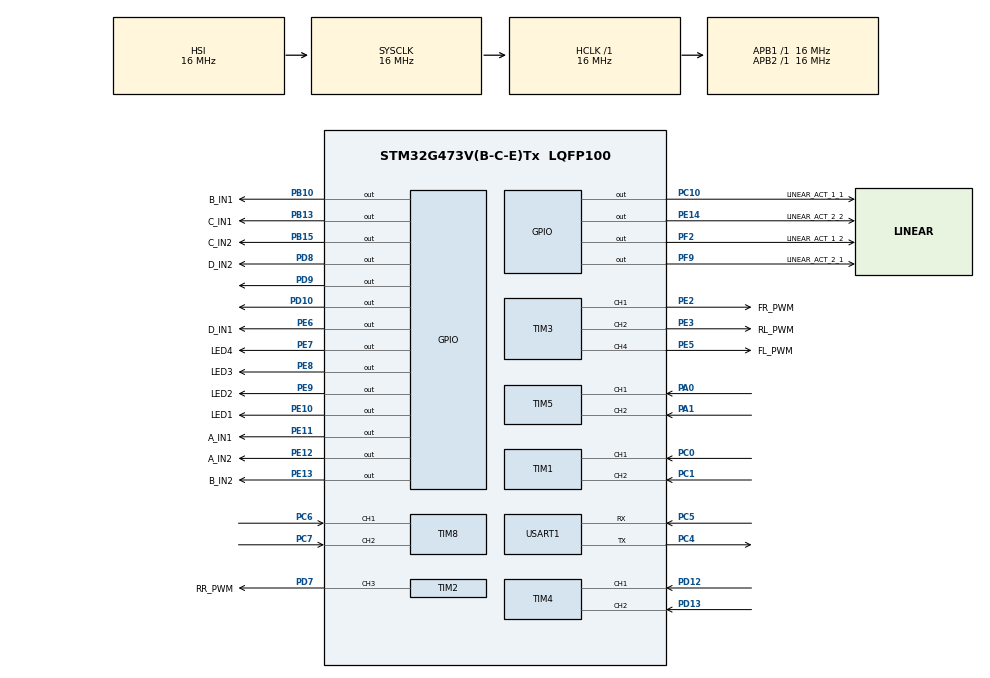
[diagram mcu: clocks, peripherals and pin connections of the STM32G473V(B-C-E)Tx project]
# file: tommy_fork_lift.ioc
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Mcu.Family=STM32G4
Mcu.Name=STM32G473V(B-C-E)Tx
Mcu.Package=LQFP100
NVIC.PriorityGroup=NVIC_PRIORITYGROUP_4
PA0.Signal=S_TIM5_CH1
PA1.Signal=S_TIM5_CH2
PA13.Mode=Serial_Wire
PA13.Signal=SYS_JTMS-SWDIO
PA14.Mode=Serial_Wire
PA14.Signal=SYS_JTCK-SWCLK
PB10.GPIO_Label=B_IN1
PB10.Signal=GPIO_Output
PB13.GPIO_Label=C_IN1
PB13.Signal=GPIO_Output
PB15.GPIO_Label=C_IN2
PB15.Signal=GPIO_Output
PC0.Signal=S_TIM1_CH1
PC1.Signal=S_TIM1_CH2
PC10.GPIO_Label=LINEAR_ACT_1_1
PC10.Signal=GPIO_Output
PC14-OSC32_IN.Mode=LSE-External-Oscillator
PC14-OSC32_IN.Signal=RCC_OSC32_IN
PC15-OSC32_OUT.Mode=LSE-External-Oscillator
PC15-OSC32_OUT.Signal=RCC_OSC32_OUT
PC4.Mode=Asynchronous
PC4.Signal=USART1_TX
PC5.Mode=Asynchronous
PC5.Signal=USART1_RX
PC6.Signal=S_TIM8_CH1
PC7.Signal=S_TIM8_CH2
PD10.Signal=GPIO_Output
PD12.Signal=S_TIM4_CH1
PD13.Signal=S_TIM4_CH2
PD7.GPIO_Label=RR_PWM
PD7.Signal=S_TIM2_CH3
PD8.GPIO_Label=D_IN2
PD8.Signal=GPIO_Output
PD9.Signal=GPIO_Output
PE10.GPIO_Label=LED1
PE10.Signal=GPIO_Output
PE11.GPIO_Label=A_IN1
PE11.Signal=GPIO_Output
PE12.GPIO_Label=A_IN2
PE12.Signal=GPIO_Output
PE13.GPIO_Label=B_IN2
PE13.Signal=GPIO_Output
PE14.GPIO_Label=LINEAR_ACT_2_2
PE14.Signal=GPIO_Output
PE2.GPIO_Label=FR_PWM
PE2.Signal=S_TIM3_CH1
PE3.GPIO_Label=RL_PWM
PE3.Signal=S_TIM3_CH2
PE5.GPIO_Label=FL_PWM
PE5.Signal=S_TIM3_CH4
PE6.GPIO_Label=D_IN1
PE6.Signal=GPIO_Output
PE7.GPIO_Label=LED4
PE7.Signal=GPIO_Output
PE8.GPIO_Label=LED3
PE8.Signal=GPIO_Output
PE9.GPIO_Label=LED2
PE9.Signal=GPIO_Output
PF0-OSC_IN.Mode=HSE-External-Oscillator
PF0-OSC_IN.Signal=RCC_OSC_IN
PF1-OSC_OUT.Mode=HSE-External-Oscillator
PF1-OSC_OUT.Signal=RCC_OSC_OUT
PF2.GPIO_Label=LINEAR_ACT_1_2
PF2.Signal=GPIO_Output
PF9.GPIO_Label=LINEAR_ACT_2_1
PF9.Signal=GPIO_Output
ProjectManager.HeapSize=0x200
ProjectManager.StackSize=0x400
ProjectManager.TargetToolchain=STM32CubeIDE
RCC.AHBFreq_Value=16000000
RCC.APB1Freq_Value=16000000
RCC.APB1TimFreq_Value=16000000
RCC.APB2Freq_Value=16000000
RCC.APB2TimFreq_Value=16000000
RCC.CortexFreq_Value=16000000
RCC.EXTERNAL_CLOCK_VALUE=12288000
RCC.HCLKFreq_Value=16000000
RCC.HSE_VALUE=8000000
RCC.HSI48_VALUE=48000000
RCC.HSI_VALUE=16000000
RCC.SYSCLKFreq_VALUE=16000000
RCC.USBFreq_Value=64000000
RCC.VCOOutputFreq_Value=128000000
SH.S_TIM1_CH1.0=TIM1_CH1,Encoder_Interface
SH.S_TIM1_CH2.0=TIM1_CH2,Encoder_Interface
SH.S_TIM2_CH3.0=TIM2_CH3,PWM Generation3 CH3
SH.S_TIM3_CH1.0=TIM3_CH1,PWM Generation1 CH1
SH.S_TIM3_CH2.0=TIM3_CH2,PWM Generation2 CH2
SH.S_TIM3_CH4.0=TIM3_CH4,PWM Generation4 CH4
SH.S_TIM4_CH1.0=TIM4_CH1,Encoder_Interface
SH.S_TIM4_CH2.0=TIM4_CH2,Encoder_Interface
SH.S_TIM5_CH1.0=TIM5_CH1,Encoder_Interface
SH.S_TIM5_CH2.0=TIM5_CH2,Encoder_Interface
SH.S_TIM8_CH1.0=TIM8_CH1,Encoder_Interface
SH.S_TIM8_CH2.0=TIM8_CH2,Encoder_Interface
TIM2.AutoReloadPreload=TIM_AUTORELOAD_PRELOAD_ENABLE
TIM2.Channel-PWM\ Generation3\ CH3=TIM_CHANNEL_3
TIM2.PeriodNoDither=65535
TIM3.AutoReloadPreload=TIM_AUTORELOAD_PRELOAD_ENABLE
TIM3.Channel-PWM\ Generation1\ CH1=TIM_CHANNEL_1
TIM3.Channel-PWM\ Generation2\ CH2=TIM_CHANNEL_2
TIM3.Channel-PWM\ Generation4\ CH4=TIM_CHANNEL_4
USART1.VirtualMode-Asynchronous=VM_ASYNC
VP_SYS_VS_DBSignals.Mode=DisableDeadBatterySignals
board=custom

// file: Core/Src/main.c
/* USER CODE BEGIN Header */
/**
 ******************************************************************************
 * @file           : main.c
 * @brief          : Main program body
 ******************************************************************************
 * @attention
 *
 * Copyright (c) 2025 STMicroelectronics.
 * All rights reserved.
 *
 * This software is licensed under terms that can be found in the LICENSE file
 * in the root directory of this software component.
 * If no LICENSE file comes with this software, it is provided AS-IS.
 *
 ********************************************************************** ********
 */
/* USER CODE END Header */
#include "main.h"
#include "tim.h"
#include "usart.h"
#include "gpio.h"

/* USER CODE BEGIN Includes */
#include "auto_path.h"
#include "controller.h"
#include "encoder.h"
#include "mech.h"
#include "movement.h"
#include "robot.h"

/* USER CODE END Includes */

/* USER CODE BEGIN PD */
#define TEST 0

/* USER CODE END PD */

/* USER CODE BEGIN PV */
BaseVelocity test_base_vel = {0, 0, 0};
int time_stamp = 0;
int test_stage = 0;
int test_var = 0;
/* USER CODE END PV */

void SystemClock_Config(void);

int main(void)
{

  /* MCU Configuration--------------------------------------------------------*/

  /* Reset of all peripherals, Initializes the Flash interface and the Systick. */
  HAL_Init();

  /* Configure the system clock */
  SystemClock_Config();

  /* Initialize all configured peripherals */
  MX_GPIO_Init();
  MX_TIM3_Init();
  MX_TIM1_Init();
  MX_TIM2_Init();
  MX_TIM4_Init();
  MX_TIM5_Init();
  MX_TIM8_Init();
  MX_USART1_UART_Init();
  /* USER CODE BEGIN 2 */
  HAL_TIM_PWM_Start(&htim2, TIM_CHANNEL_3);
  HAL_TIM_PWM_Start(&htim3, TIM_CHANNEL_1);
  HAL_TIM_PWM_Start(&htim3, TIM_CHANNEL_2);
  HAL_TIM_PWM_Start(&htim3, TIM_CHANNEL_4);

  HAL_TIM_Base_Start_IT(&htim1);
  HAL_TIM_Encoder_Start_IT(&htim1, TIM_CHANNEL_ALL);
  HAL_TIM_Base_Start_IT(&htim4);
  HAL_TIM_Encoder_Start_IT(&htim4, TIM_CHANNEL_ALL);
  HAL_TIM_Base_Start_IT(&htim5);
  HAL_TIM_Encoder_Start_IT(&htim5, TIM_CHANNEL_ALL);
  HAL_TIM_Base_Start_IT(&htim8);
  HAL_TIM_Encoder_Start_IT(&htim8, TIM_CHANNEL_ALL);

  HAL_GPIO_WritePin(LED1_GPIO_Port, LED1_Pin, GPIO_PIN_SET);
  HAL_GPIO_WritePin(LED2_GPIO_Port, LED2_Pin, GPIO_PIN_SET);
  HAL_GPIO_WritePin(LED3_GPIO_Port, LED3_Pin, GPIO_PIN_SET);
  HAL_GPIO_WritePin(LED4_GPIO_Port, LED4_Pin, GPIO_PIN_SET);

  /* USER CODE END 2 */

  /* Infinite loop */
  while (1) {

    /* USER CODE BEGIN 3 */
    HAL_Delay(1);
#if (TEST == 0)
    HAL_UART_Receive(&huart1, controller_buffer, sizeof(controller_buffer), 0xFFFF);
    parse_controller_data(controller_buffer, &controller_state);

    if (controller_state.options_button && !prev_turn_on) {  // turn on/off the robot
      turn_on = !turn_on;
      HAL_GPIO_WritePin(LED1_GPIO_Port, LED1_Pin, turn_on ? GPIO_PIN_RESET : GPIO_PIN_SET);
    }
    prev_turn_on = controller_state.options_button;

    if (turn_on) {
      if (auto_path_selection == LEFT_PATH) {
        HAL_GPIO_WritePin(LED3_GPIO_Port, LED3_Pin, GPIO_PIN_SET);
        HAL_GPIO_WritePin(LED4_GPIO_Port, LED4_Pin, GPIO_PIN_SET);
      } else if (auto_path_selection == MID_PATH) {
        HAL_GPIO_WritePin(LED3_GPIO_Port, LED3_Pin, GPIO_PIN_RESET);
        HAL_GPIO_WritePin(LED4_GPIO_Port, LED4_Pin, GPIO_PIN_SET);
      } else if (auto_path_selection == RIGHT_PATH) {
        HAL_GPIO_WritePin(LED3_GPIO_Port, LED3_Pin, GPIO_PIN_SET);
        HAL_GPIO_WritePin(LED4_GPIO_Port, LED4_Pin, GPIO_PIN_RESET);
      }

      float rotation_vel = (controller_state.l2_pressure / 1024.0 + controller_state.r2_pressure / -1024.0) * 100.0;

      if (controller_state.ps_button && !prev_auto_path_enable) {  // auto, line following
        auto_path_enable = !auto_path_enable;
        if (auto_path_enable)
          follow_auto_path(auto_path_selection);
      }
      prev_auto_path_enable = controller_state.ps_button;

      if (controller_state.share_button && !prev_auto_path_switch) {
        auto_path_switch = !auto_path_switch;
        if (auto_path_selection == LEFT_PATH)
          auto_path_selection = MID_PATH;
        else if (auto_path_selection == MID_PATH)
          auto_path_selection = RIGHT_PATH;
        else if (auto_path_selection == RIGHT_PATH)
          auto_path_selection = LEFT_PATH;
      }  // auto, choose path, toggle left / right / straight forward
      prev_auto_path_switch = controller_state.share_button;

      if (controller_state.left && !controller_state.right && !controller_state.up && !controller_state.down) {
        BaseVelocity target_vel = {0, ROBOT_MAX_X_VELOCITY * 0.3, 0};  // move to the left
        movement_control(target_vel);
      } else if (!controller_state.left && controller_state.right && !controller_state.up && !controller_state.down) {
        BaseVelocity target_vel = {0, -ROBOT_MAX_X_VELOCITY * 0.3, 0};  // move to the right
        movement_control(target_vel);
      } else if (!controller_state.left && !controller_state.right && controller_state.up && !controller_state.down) {
        BaseVelocity target_vel = {ROBOT_MAX_Y_VELOCITY * 0.3, 0, 0};  // move forward
        movement_control(target_vel);
      } else if (!controller_state.left && !controller_state.right && !controller_state.up && controller_state.down) {
        BaseVelocity target_vel = {-ROBOT_MAX_Y_VELOCITY * 0.3, 0, 0};  // move backward
        movement_control(target_vel);
      } else if (controller_state.l_stick_x == 0 && controller_state.l_stick_y == 0 && rotation_vel != 0 && !controller_state.r1 && !controller_state.l1) {  // rotate
        BaseVelocity target_vel = {0, 0, rotation_vel / 100.0 * ROBOT_MAX_Z_VELOCITY * 0.5};
        movement_control(target_vel);
      } else if (controller_state.r_stick_x == 0 && controller_state.r_stick_y == 0 && !controller_state.r1 && !controller_state.l1) {  // move fastly
        BaseVelocity target_vel = {controller_state.l_stick_y / 100.0 * ROBOT_MAX_Y_VELOCITY * 0.75,
                                   controller_state.l_stick_x / 100.0 * ROBOT_MAX_X_VELOCITY * 0.75,
                                   0};
        movement_control(target_vel);
      } else if (!controller_state.r1 && !controller_state.l1) {  // move slowly
        BaseVelocity target_vel = {controller_state.r_stick_y / 100.0 * ROBOT_MAX_Y_VELOCITY * 0.5,
                                   controller_state.r_stick_x / 100.0 * ROBOT_MAX_X_VELOCITY * 0.5,
                                   0};
        movement_control(target_vel);
      } else if (controller_state.l1 || controller_state.r1) {  // rotate slowly
        BaseVelocity target_vel = {0, 0, 0};
        if (controller_state.l1)
          target_vel.z_vel = ROBOT_MAX_Z_VELOCITY * 0.25;
        else if (controller_state.r1)
          target_vel.z_vel = ROBOT_MAX_Z_VELOCITY * -0.25;
        movement_control(target_vel);
      }

      if (controller_state.triangle)
        linear_actuator_operation(&(linear_actuator[1]), LINEAR_ACUATOR_RETRACT);
      else if (controller_state.cross)
        linear_actuator_operation(&(linear_actuator[1]), LINEAR_ACUATOR_EXTEND);
      else
        linear_actuator_operation(&(linear_actuator[1]), LINEAR_ACUATOR_IDLE);

      if (controller_state.square)
        linear_actuator_operation(&(linear_actuator[0]), LINEAR_ACUATOR_RETRACT);
      else if (controller_state.circle)
        linear_actuator_operation(&(linear_actuator[0]), LINEAR_ACUATOR_EXTEND);
      else
        linear_actuator_operation(&(linear_actuator[0]), LINEAR_ACUATOR_IDLE);
    }
#else
    if (HAL_GetTick() - time_stamp > 3000) {
      time_stamp = HAL_GetTick();
      test_stage++;
      if (test_stage%2 == 0)
        linear_actuator_extend(&(linear_actuator[1]));
      else
        linear_actuator_retract(&(linear_actuator[1]));
    //   // HAL_GPIO_TogglePin(LINEAR_ACT_1_1_GPIO_Port, LINEAR_ACT_1_1_Pin);
    //   // HAL_GPIO_TogglePin(LINEAR_ACT_1_2_GPIO_Port, LINEAR_ACT_1_2_Pin);
    //   // HAL_GPIO_TogglePin(LINEAR_ACT_2_1_GPIO_Port, LINEAR_ACT_2_1_Pin);
    //   // HAL_GPIO_TogglePin(LINEAR_ACT_2_2_GPIO_Port, LINEAR_ACT_2_2_Pin);
    //   // HAL_GPIO_TogglePin(A_IN1_GPIO_Port, A_IN1_Pin);
    //   // HAL_GPIO_TogglePin(A_IN2_GPIO_Port, A_IN2_Pin);
    //   // HAL_GPIO_TogglePin(B_IN1_GPIO_Port, B_IN1_Pin);
    //   // HAL_GPIO_TogglePin(B_IN2_GPIO_Port, B_IN2_Pin);
    //   // HAL_GPIO_TogglePin(C_IN1_GPIO_Port, C_IN1_Pin);
    //   // HAL_GPIO_TogglePin(C_IN2_GPIO_Port, C_IN2_Pin);
    //   // HAL_GPIO_TogglePin(D_IN1_GPIO_Port, D_IN1_Pin);
    //   // HAL_GPIO_TogglePin(D_IN2_GPIO_Port, D_IN2_Pin);
    }

    // switch (test_stage%8) {
    //   case 0:
    //     test_base_vel.x_vel = ROBOT_MAX_Y_VELOCITY * 0.5;
    //     test_base_vel.y_vel = 0;
    //     test_base_vel.z_vel = 0;
    //     break;
    //   case 1:
    //     test_base_vel.x_vel = ROBOT_MAX_Y_VELOCITY * -0.5;
    //     test_base_vel.y_vel = 0;
    //     test_base_vel.z_vel = 0;
    //     break;
    //   case 2:
    //     test_base_vel.x_vel = 0;
    //     test_base_vel.y_vel = ROBOT_MAX_X_VELOCITY * 0.5;
    //     test_base_vel.z_vel = 0;
    //     break;
    //   case 3:
    //     test_base_vel.x_vel = 0;
    //     test_base_vel.y_vel = ROBOT_MAX_X_VELOCITY * -0.5;
    //     test_base_vel.z_vel = 0;
    //     break;
    //   case 4:
    //     test_base_vel.x_vel = 0;
    //     test_base_vel.y_vel = 0;
    //     test_base_vel.z_vel = ROBOT_MAX_Z_VELOCITY * 0.25;
    //     break;
    //   case 5:
    //     test_base_vel.x_vel = 0;
    //     test_base_vel.y_vel = 0;
    //     test_base_vel.z_vel = ROBOT_MAX_Z_VELOCITY * -0.25;
    //     break;
    //   case 6:
    //     test_base_vel.x_vel = 0;
    //     test_base_vel.y_vel = 0;
    //     test_base_vel.z_vel = 0;
    //     // linear_actuator_extend(&(linear_actuator[0]));
    //     // linear_actuator_extend(&(linear_actuator[1]));
    //     break;
    //   case 7:
    //     test_base_vel.x_vel = 0;
    //     test_base_vel.y_vel = 0;
    //     test_base_vel.z_vel = 0;
    //     // linear_actuator_retract(&(linear_actuator[0]));
    //     // linear_actuator_retract(&(linear_actuator[1]));
    //     break;
    //   default:
    //     break;
    // }

    // test_base_vel.x_vel = ROBOT_MAX_Y_VELOCITY * 0.5;
    // test_base_vel.y_vel = 0;
    // test_base_vel.z_vel = 0;
    // movement_control(test_base_vel);
    read_current_velocity(encoders);

#endif
  }
  /* USER CODE END 3 */
}

void SystemClock_Config(void)
{
  RCC_OscInitTypeDef RCC_OscInitStruct = {0};
  RCC_ClkInitTypeDef RCC_ClkInitStruct = {0};

  /** Configure the main internal regulator output voltage
  */
  HAL_PWREx_ControlVoltageScaling(PWR_REGULATOR_VOLTAGE_SCALE1);

  /** Initializes the RCC Oscillators according to the specified parameters
  * in the RCC_OscInitTypeDef structure.
  */
  RCC_OscInitStruct.OscillatorType = RCC_OSCILLATORTYPE_HSI;
  RCC_OscInitStruct.HSIState = RCC_HSI_ON;
  RCC_OscInitStruct.HSICalibrationValue = RCC_HSICALIBRATION_DEFAULT;
  RCC_OscInitStruct.PLL.PLLState = RCC_PLL_NONE;
  if (HAL_RCC_OscConfig(&RCC_OscInitStruct) != HAL_OK)
  {
    Error_Handler();
  }

  /** Initializes the CPU, AHB and APB buses clocks
  */
  RCC_ClkInitStruct.ClockType = RCC_CLOCKTYPE_HCLK|RCC_CLOCKTYPE_SYSCLK
                              |RCC_CLOCKTYPE_PCLK1|RCC_CLOCKTYPE_PCLK2;
  RCC_ClkInitStruct.SYSCLKSource = RCC_SYSCLKSOURCE_HSI;
  RCC_ClkInitStruct.AHBCLKDivider = RCC_SYSCLK_DIV1;
  RCC_ClkInitStruct.APB1CLKDivider = RCC_HCLK_DIV1;
  RCC_ClkInitStruct.APB2CLKDivider = RCC_HCLK_DIV1;

  if (HAL_RCC_ClockConfig(&RCC_ClkInitStruct, FLASH_LATENCY_0) != HAL_OK)
  {
    Error_Handler();
  }
}

void Error_Handler(void)
{
  __disable_irq();
  while (1) {
  }
}
